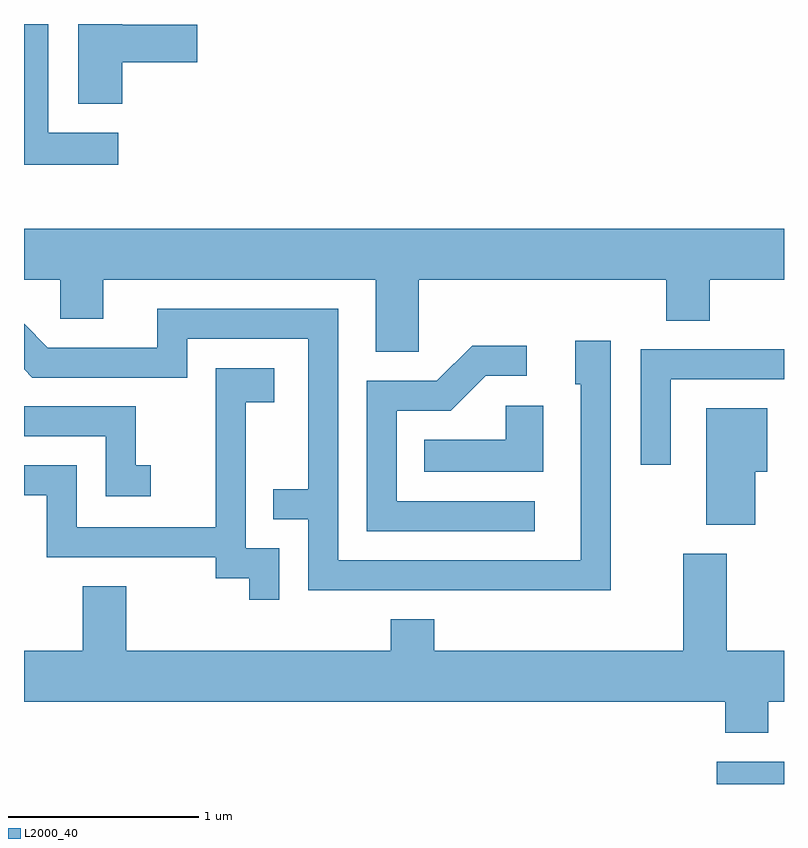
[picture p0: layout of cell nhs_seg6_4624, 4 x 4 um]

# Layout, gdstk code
import gdstk
lib = gdstk.Library(unit=1e-6, precision=1e-09)
def R(c, l, rs):  # rectangles x0, y0, x1, y1
    for r in rs: c.add(gdstk.rectangle(r[:2], r[2:], *l))
def P(c, l, *ps):  # polygons
    for p in ps: c.add(gdstk.Polygon(p, *l))
L2000_40 = (2000, 40)

nhs_seg6_4624 = lib.new_cell('nhs_seg6_4624')
R(nhs_seg6_4624, L2000_40, [(329.256,1656.162,329.611,1656.279)])
P(nhs_seg6_4624, L2000_40, [(326.108,1659.589),(325.739,1659.589),(325.739,1660.162),(325.611,1660.162),(325.611,1659.421),(326.108,1659.421)],
  [(326.129,1659.961),(326.524,1659.961),(326.524,1660.159),(326.129,1660.159),(326.129,1660.162),(325.896,1660.162),(325.896,1659.741),(326.129,1659.741)],
  [(327.689,1658.816),(328.991,1658.816),(328.991,1658.601),(329.219,1658.601),(329.219,1658.816),(329.611,1658.816),(329.611,1659.084),(325.611,1659.084),(325.611,1658.816),(325.801,1658.816),(325.801,1658.611),(326.029,1658.611),(326.029,1658.816),(327.461,1658.816),(327.461,1658.436),(327.689,1658.436)],
  [(328.699,1658.494),(328.511,1658.494),(328.511,1658.266),(328.541,1658.266),(328.541,1657.339),(327.264,1657.339),(327.264,1658.664),(326.311,1658.664),(326.311,1658.459),(325.737,1658.459),(325.611,1658.585),(325.611,1658.344),(325.654,1658.301),(326.469,1658.301),(326.469,1658.506),(327.106,1658.506),(327.106,1657.714),(326.923,1657.714),(326.923,1657.556),(327.106,1657.556),(327.106,1657.181),(328.699,1657.181)],
  [(328.298,1657.649),(327.574,1657.649),(327.574,1658.126),(327.857,1658.126),(328.042,1658.311),(328.258,1658.311),(328.258,1658.469),(327.969,1658.469),(327.784,1658.284),(327.416,1658.284),(327.416,1657.491),(328.298,1657.491)],
  [(329.014,1658.291),(329.611,1658.291),(329.611,1658.449),(328.856,1658.449),(328.856,1657.843),(329.014,1657.843)],
  [(326.954,1657.404),(326.779,1657.404),(326.779,1658.171),(326.929,1658.171),(326.929,1658.349),(326.621,1658.349),(326.621,1657.514),(325.889,1657.514),(325.889,1657.839),(325.611,1657.839),(325.611,1657.681),(325.731,1657.681),(325.731,1657.356),(326.621,1657.356),(326.621,1657.246),(326.796,1657.246),(326.796,1657.133),(326.954,1657.133)],
  [(328.344,1658.154),(328.146,1658.154),(328.146,1657.974),(327.718,1657.974),(327.718,1657.806),(328.344,1657.806)],
  [(326.278,1657.839),(326.199,1657.839),(326.199,1658.149),(325.611,1658.149),(325.611,1657.991),(326.041,1657.991),(326.041,1657.676),(326.278,1657.676)],
  [(329.459,1657.806),(329.524,1657.806),(329.524,1658.139),(329.201,1658.139),(329.201,1657.526),(329.459,1657.526)],
  [(329.529,1656.596),(329.611,1656.596),(329.611,1656.864),(329.309,1656.864),(329.309,1657.374),(329.081,1657.374),(329.081,1656.864),(327.769,1656.864),(327.769,1657.029),(327.541,1657.029),(327.541,1656.864),(326.149,1656.864),(326.149,1657.204),(325.921,1657.204),(325.921,1656.864),(325.611,1656.864),(325.611,1656.596),(329.301,1656.596),(329.301,1656.431),(329.529,1656.431)])

lib.write_gds('nhs_seg6_4624.gds')
